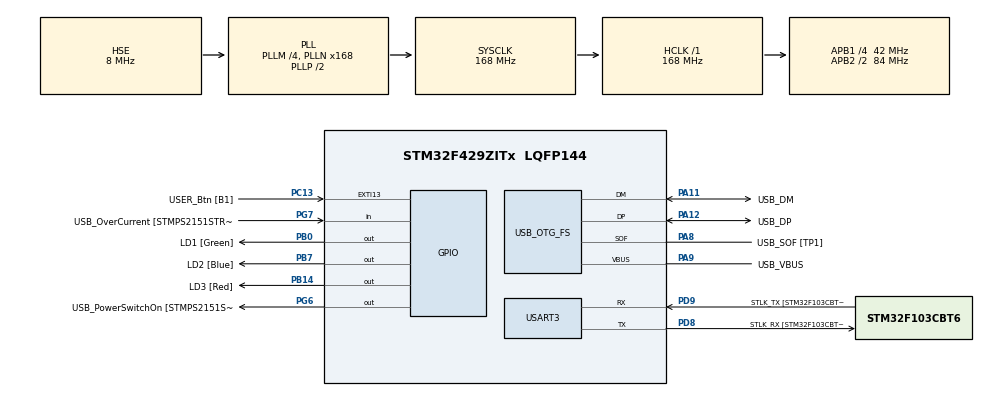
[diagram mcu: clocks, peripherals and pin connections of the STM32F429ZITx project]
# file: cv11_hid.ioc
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Mcu.Family=STM32F4
Mcu.Name=STM32F429ZITx
Mcu.Package=LQFP144
NVIC.OTG_FS_IRQn=true\:0\:0\:false\:false\:true\:false\:true\:true
NVIC.PriorityGroup=NVIC_PRIORITYGROUP_4
PA1.GPIO_Label=RMII_REF_CLK [LAN8742A-CZ-TR_REFCLK0]
PA1.Signal=ETH_REF_CLK
PA10.GPIO_Label=USB_ID
PA10.Signal=USB_OTG_FS_ID
PA11.GPIO_Label=USB_DM
PA11.Mode=Device_Only
PA11.Signal=USB_OTG_FS_DM
PA12.GPIO_Label=USB_DP
PA12.Mode=Device_Only
PA12.Signal=USB_OTG_FS_DP
PA13.GPIO_Label=TMS
PA13.Mode=Serial_Wire
PA13.Signal=SYS_JTMS-SWDIO
PA14.GPIO_Label=TCK
PA14.Mode=Serial_Wire
PA14.Signal=SYS_JTCK-SWCLK
PA2.GPIO_Label=RMII_MDIO [LAN8742A-CZ-TR_MDIO]
PA2.Signal=ETH_MDIO
PA7.GPIO_Label=RMII_CRS_DV [LAN8742A-CZ-TR_CRS_DV]
PA7.Signal=ETH_CRS_DV
PA8.GPIO_Label=USB_SOF [TP1]
PA8.Mode=Activate_SOF_FS
PA8.Signal=USB_OTG_FS_SOF
PA9.GPIO_Label=USB_VBUS
PA9.Mode=Activate_VBUS
PA9.Signal=USB_OTG_FS_VBUS
PB0.GPIO_Label=LD1 [Green]
PB0.Signal=GPIO_Output
PB13.GPIO_Label=RMII_TXD1 [LAN8742A-CZ-TR_TXD1]
PB13.Signal=ETH_TXD1
PB14.GPIO_Label=LD3 [Red]
PB14.Signal=GPIO_Output
PB7.GPIO_Label=LD2 [Blue]
PB7.Signal=GPIO_Output
PC1.GPIO_Label=RMII_MDC [LAN8742A-CZ-TR_MDC]
PC1.Signal=ETH_MDC
PC13.GPIO_Label=USER_Btn [B1]
PC13.Signal=GPXTI13
PC14/OSC32_IN.Mode=LSE-External-Oscillator
PC14/OSC32_IN.Signal=RCC_OSC32_IN
PC15/OSC32_OUT.Mode=LSE-External-Oscillator
PC15/OSC32_OUT.Signal=RCC_OSC32_OUT
PC4.GPIO_Label=RMII_RXD0 [LAN8742A-CZ-TR_RXD0]
PC4.Signal=ETH_RXD0
PC5.GPIO_Label=RMII_RXD1 [LAN8742A-CZ-TR_RXD1]
PC5.Signal=ETH_RXD1
PD8.GPIO_Label=STLK_RX [STM32F103CBT6_PA3]
PD8.Mode=Asynchronous
PD8.Signal=USART3_TX
PD9.GPIO_Label=STLK_TX [STM32F103CBT6_PA2]
PD9.Mode=Asynchronous
PD9.Signal=USART3_RX
PG11.GPIO_Label=RMII_TX_EN [LAN8742A-CZ-TR_TXEN]
PG11.Signal=ETH_TX_EN
PG13.GPIO_Label=RMII_TXD0 [LAN8742A-CZ-TR_TXD0]
PG13.Signal=ETH_TXD0
PG6.GPIO_Label=USB_PowerSwitchOn [STMPS2151STR_EN]
PG6.Signal=GPIO_Output
PG7.GPIO_Label=USB_OverCurrent [STMPS2151STR_FAULT]
PG7.Signal=GPIO_Input
PH0/OSC_IN.GPIO_Label=MCO [STM32F103CBT6_PA8]
PH0/OSC_IN.Mode=HSE-External-Clock-Source
PH0/OSC_IN.Signal=RCC_OSC_IN
PH1/OSC_OUT.Mode=HSE-External-Clock-Source
PH1/OSC_OUT.Signal=RCC_OSC_OUT
ProjectManager.HeapSize=0x200
ProjectManager.StackSize=0x400
ProjectManager.TargetToolchain=STM32CubeIDE
RCC.48MHZClocksFreq_Value=48000000
RCC.AHBFreq_Value=168000000
RCC.APB1CLKDivider=RCC_HCLK_DIV4
RCC.APB1Freq_Value=42000000
RCC.APB1TimFreq_Value=84000000
RCC.APB2CLKDivider=RCC_HCLK_DIV2
RCC.APB2Freq_Value=84000000
RCC.APB2TimCLKDivider=2
RCC.APB2TimFreq_Value=168000000
RCC.CortexFreq_Value=168000000
RCC.HCLKFreq_Value=168000000
RCC.HSE_VALUE=8000000
RCC.HSI_VALUE=16000000
RCC.PLLM=4
RCC.PLLMUL=RCC_PLL_MUL9
RCC.PLLN=168
RCC.PLLQ=7
RCC.PRESCALERUSB=RCC_USBCLKSOURCE_PLL_DIV1_5
RCC.SYSCLKFreq_VALUE=168000000
RCC.SYSCLKSource=RCC_SYSCLKSOURCE_PLLCLK
RCC.SYSCLKSourceVirtual=RCC_SYSCLKSOURCE_PLLCLK
RCC.USBFreq_Value=48000000
RCC.VCOOutputFreq_Value=336000000
USART3.VirtualMode=VM_ASYNC
USB_DEVICE.CLASS_NAME_FS=HID
USB_DEVICE.VirtualMode-HID_FS=Hid
USB_DEVICE.VirtualModeFS=Hid_FS
USB_OTG_FS.VirtualMode=Device_Only
VP_USB_DEVICE_VS_USB_DEVICE_HID_FS.Mode=HID_FS
board=NUCLEO-F429ZI

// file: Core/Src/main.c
/* USER CODE BEGIN Header */
/**
 ******************************************************************************
 * @file           : main.c
 * @brief          : Main program body
 ******************************************************************************
 * @attention
 *
 * Copyright (c) 2023 STMicroelectronics.
 * All rights reserved.
 *
 * This software is licensed under terms that can be found in the LICENSE file
 * in the root directory of this software component.
 * If no LICENSE file comes with this software, it is provided AS-IS.
 *
 ******************************************************************************
 */
/* USER CODE END Header */
#include "main.h"
#include "usb_device.h"

/* USER CODE BEGIN Includes */
#include "usbd_hid.h"
#include "math.h"
/* USER CODE END Includes */

UART_HandleTypeDef huart3;

/* USER CODE BEGIN PV */
extern USBD_HandleTypeDef hUsbDeviceFS;
/* USER CODE END PV */

void SystemClock_Config(void);
static void MX_GPIO_Init(void);
static void MX_USART3_UART_Init(void);

int main(void) {

	/* MCU Configuration--------------------------------------------------------*/

	/* Reset of all peripherals, Initializes the Flash interface and the Systick. */
	HAL_Init();

	/* Configure the system clock */
	SystemClock_Config();

	/* Initialize all configured peripherals */
	MX_GPIO_Init();
	MX_USART3_UART_Init();
	MX_USB_DEVICE_Init();

	/* Infinite loop */
	/* USER CODE BEGIN WHILE */

	void DrawLine(int8_t x, int8_t y) {
		uint8_t buff[4];  // sklada se ze ctyr bajtu v reportu
		buff[0] = 0x01;         // stiskni leve tlacitko
		buff[1] = (int8_t) (x);
		buff[2] = (int8_t) (y);
		buff[3] = 0;            // bez scrollu
		USBD_HID_SendReport(&hUsbDeviceFS, buff, sizeof(buff)); // odesleme report
		HAL_Delay(USBD_HID_GetPollingInterval(&hUsbDeviceFS));  // pockame
	}

	void DrawMouth(float size) {
		uint8_t buff[4];  // sklada se ze ctyr bajtu v reportu
		for (int i = 15; i <= 45; i++) {
			int step = 6 * i;
			float x = (size * cos(step * M_PI / 180));
			float y = (size * sin(step * M_PI / 180));
			buff[0] = 0x01;         // stiskni leve tlacitko
			buff[1] = (int8_t) (x); // posun X +10
			buff[2] = (int8_t) (y); // posun Y -3
			buff[3] = 0;            // bez scrollu
			USBD_HID_SendReport(&hUsbDeviceFS, buff, sizeof(buff)); // odesleme report
			HAL_Delay(USBD_HID_GetPollingInterval(&hUsbDeviceFS));  // pockame
		}
	}

	void ReleaseButton() {
		uint8_t buff[4];  // sklada se ze ctyr bajtu v reportu
		buff[0] = 0x00;         // stiskni leve tlacitko
		buff[1] = 0; // posun X +10
		buff[2] = 0; // posun Y -3
		buff[3] = 0; // bez scrollu
		USBD_HID_SendReport(&hUsbDeviceFS, buff, sizeof(buff)); // odesleme report
		HAL_Delay(USBD_HID_GetPollingInterval(&hUsbDeviceFS));  // pockame
	}

	void MoveMouse(int8_t x, int8_t y) {
		uint8_t buff[4];  // sklada se ze ctyr bajtu v reportu
		buff[0] = 0x00;         // stiskni leve tlacitko
		buff[1] = (int8_t) (x); // posun X
		buff[2] = (int8_t) (y); // posun Y
		buff[3] = 0;            // bez scrollu
		USBD_HID_SendReport(&hUsbDeviceFS, buff, sizeof(buff)); // odesleme report
		HAL_Delay(USBD_HID_GetPollingInterval(&hUsbDeviceFS));  // pockame
	}

	void DrawCircle(float size) {
		uint8_t buff[4];  // sklada se ze ctyr bajtu v reportu
		for (int i = 0; i <= 120; i++) {
			int step = 6 * i;
			float x = (size * cos(step * M_PI / 180));
			float y = (size * sin(step * M_PI / 180));
			buff[0] = 0x01;         // stiskni leve tlacitko
			buff[1] = (int8_t) (x); // posun X +10
			buff[2] = (int8_t) (y); // posun Y -3
			buff[3] = 0;            // bez scrollu
			USBD_HID_SendReport(&hUsbDeviceFS, buff, sizeof(buff)); // odesleme report
			HAL_Delay(USBD_HID_GetPollingInterval(&hUsbDeviceFS));  // pockame
		}
	}

	while (1) {
		/* USER CODE END WHILE */
		uint8_t ksicht = 40;
		uint8_t oko = 5;
		uint8_t nos = 25;
		uint8_t pusa = 17;
		/* USER CODE BEGIN 3 */
		do {
			HAL_Delay(40);
		} while (!HAL_GPIO_ReadPin(USER_Btn_GPIO_Port, USER_Btn_Pin)); //cekam tak dlouho dokud nebude stiknute tlacitko, budu cist user buttom Port a pin
		DrawCircle(30); //Ksicht
		ReleaseButton();
		MoveMouse(-ksicht,100);
		MoveMouse(-ksicht,0);
		MoveMouse(-ksicht,0);
		ReleaseButton();
		DrawCircle(5); //Oko
		ReleaseButton();
		MoveMouse(ksicht,0);
		MoveMouse(ksicht,0);
		MoveMouse(ksicht,0);
		HAL_Delay(500);
		DrawLine(0,nos); //Rypak
		DrawLine(0,nos); //Rypak
		DrawLine(0,nos); //Rypak
		DrawLine(0,nos); //Rypak
		DrawLine(0,nos); //Rypak
		DrawLine(0,nos); //Rypak
		DrawLine(0,nos); //Rypak
		DrawLine(0,nos); //Rypak
		DrawLine(0,nos); //Rypak
		ReleaseButton();
		HAL_Delay(500);
		MoveMouse(0,-nos);
		MoveMouse(0,-nos);
		MoveMouse(0,-nos);
		MoveMouse(0,-nos);
		MoveMouse(0,-nos);
		MoveMouse(0,-nos);
		MoveMouse(0,-nos);
		MoveMouse(0,-nos);
		MoveMouse(0,-nos);
		MoveMouse(ksicht,0);
		MoveMouse(ksicht,0);
		MoveMouse(ksicht,0);
		ReleaseButton();
		DrawCircle(oko); //Oko
		ReleaseButton();
		MoveMouse(0,25);
		MoveMouse(0,25);
		MoveMouse(0,25);
		MoveMouse(0,25);
		MoveMouse(0,25);
		MoveMouse(0,25);

		DrawMouth(pusa); //pusa
		ReleaseButton();

	}
	/* USER CODE END 3 */
}

void SystemClock_Config(void) {
	RCC_OscInitTypeDef RCC_OscInitStruct = { 0 };
	RCC_ClkInitTypeDef RCC_ClkInitStruct = { 0 };

	/** Configure the main internal regulator output voltage
	 */
	__HAL_RCC_PWR_CLK_ENABLE();
	__HAL_PWR_VOLTAGESCALING_CONFIG(PWR_REGULATOR_VOLTAGE_SCALE1);

	/** Initializes the RCC Oscillators according to the specified parameters
	 * in the RCC_OscInitTypeDef structure.
	 */
	RCC_OscInitStruct.OscillatorType = RCC_OSCILLATORTYPE_HSE;
	RCC_OscInitStruct.HSEState = RCC_HSE_BYPASS;
	RCC_OscInitStruct.PLL.PLLState = RCC_PLL_ON;
	RCC_OscInitStruct.PLL.PLLSource = RCC_PLLSOURCE_HSE;
	RCC_OscInitStruct.PLL.PLLM = 4;
	RCC_OscInitStruct.PLL.PLLN = 168;
	RCC_OscInitStruct.PLL.PLLP = RCC_PLLP_DIV2;
	RCC_OscInitStruct.PLL.PLLQ = 7;
	if (HAL_RCC_OscConfig(&RCC_OscInitStruct) != HAL_OK) {
		Error_Handler();
	}

	/** Initializes the CPU, AHB and APB buses clocks
	 */
	RCC_ClkInitStruct.ClockType = RCC_CLOCKTYPE_HCLK | RCC_CLOCKTYPE_SYSCLK
			| RCC_CLOCKTYPE_PCLK1 | RCC_CLOCKTYPE_PCLK2;
	RCC_ClkInitStruct.SYSCLKSource = RCC_SYSCLKSOURCE_PLLCLK;
	RCC_ClkInitStruct.AHBCLKDivider = RCC_SYSCLK_DIV1;
	RCC_ClkInitStruct.APB1CLKDivider = RCC_HCLK_DIV4;
	RCC_ClkInitStruct.APB2CLKDivider = RCC_HCLK_DIV2;

	if (HAL_RCC_ClockConfig(&RCC_ClkInitStruct, FLASH_LATENCY_5) != HAL_OK) {
		Error_Handler();
	}
}

static void MX_USART3_UART_Init(void) {

	huart3.Instance = USART3;
	huart3.Init.BaudRate = 115200;
	huart3.Init.WordLength = UART_WORDLENGTH_8B;
	huart3.Init.StopBits = UART_STOPBITS_1;
	huart3.Init.Parity = UART_PARITY_NONE;
	huart3.Init.Mode = UART_MODE_TX_RX;
	huart3.Init.HwFlowCtl = UART_HWCONTROL_NONE;
	huart3.Init.OverSampling = UART_OVERSAMPLING_16;
	if (HAL_UART_Init(&huart3) != HAL_OK) {
		Error_Handler();
	}

}

static void MX_GPIO_Init(void) {
	GPIO_InitTypeDef GPIO_InitStruct = { 0 };

	/* GPIO Ports Clock Enable */
	__HAL_RCC_GPIOC_CLK_ENABLE();
	__HAL_RCC_GPIOH_CLK_ENABLE();
	__HAL_RCC_GPIOA_CLK_ENABLE();
	__HAL_RCC_GPIOB_CLK_ENABLE();
	__HAL_RCC_GPIOD_CLK_ENABLE();
	__HAL_RCC_GPIOG_CLK_ENABLE();

	/*Configure GPIO pin Output Level */
	HAL_GPIO_WritePin(GPIOB, LD1_Pin | LD3_Pin | LD2_Pin, GPIO_PIN_RESET);

	/*Configure GPIO pin Output Level */
	HAL_GPIO_WritePin(USB_PowerSwitchOn_GPIO_Port, USB_PowerSwitchOn_Pin,
			GPIO_PIN_RESET);

	/*Configure GPIO pin : USER_Btn_Pin */
	GPIO_InitStruct.Pin = USER_Btn_Pin;
	GPIO_InitStruct.Mode = GPIO_MODE_IT_RISING;
	GPIO_InitStruct.Pull = GPIO_NOPULL;
	HAL_GPIO_Init(USER_Btn_GPIO_Port, &GPIO_InitStruct);

	/*Configure GPIO pins : RMII_MDC_Pin RMII_RXD0_Pin RMII_RXD1_Pin */
	GPIO_InitStruct.Pin = RMII_MDC_Pin | RMII_RXD0_Pin | RMII_RXD1_Pin;
	GPIO_InitStruct.Mode = GPIO_MODE_AF_PP;
	GPIO_InitStruct.Pull = GPIO_NOPULL;
	GPIO_InitStruct.Speed = GPIO_SPEED_FREQ_VERY_HIGH;
	GPIO_InitStruct.Alternate = GPIO_AF11_ETH;
	HAL_GPIO_Init(GPIOC, &GPIO_InitStruct);

	/*Configure GPIO pins : RMII_REF_CLK_Pin RMII_MDIO_Pin RMII_CRS_DV_Pin */
	GPIO_InitStruct.Pin = RMII_REF_CLK_Pin | RMII_MDIO_Pin | RMII_CRS_DV_Pin;
	GPIO_InitStruct.Mode = GPIO_MODE_AF_PP;
	GPIO_InitStruct.Pull = GPIO_NOPULL;
	GPIO_InitStruct.Speed = GPIO_SPEED_FREQ_VERY_HIGH;
	GPIO_InitStruct.Alternate = GPIO_AF11_ETH;
	HAL_GPIO_Init(GPIOA, &GPIO_InitStruct);

	/*Configure GPIO pins : LD1_Pin LD3_Pin LD2_Pin */
	GPIO_InitStruct.Pin = LD1_Pin | LD3_Pin | LD2_Pin;
	GPIO_InitStruct.Mode = GPIO_MODE_OUTPUT_PP;
	GPIO_InitStruct.Pull = GPIO_NOPULL;
	GPIO_InitStruct.Speed = GPIO_SPEED_FREQ_LOW;
	HAL_GPIO_Init(GPIOB, &GPIO_InitStruct);

	/*Configure GPIO pin : RMII_TXD1_Pin */
	GPIO_InitStruct.Pin = RMII_TXD1_Pin;
	GPIO_InitStruct.Mode = GPIO_MODE_AF_PP;
	GPIO_InitStruct.Pull = GPIO_NOPULL;
	GPIO_InitStruct.Speed = GPIO_SPEED_FREQ_VERY_HIGH;
	GPIO_InitStruct.Alternate = GPIO_AF11_ETH;
	HAL_GPIO_Init(RMII_TXD1_GPIO_Port, &GPIO_InitStruct);

	/*Configure GPIO pin : USB_PowerSwitchOn_Pin */
	GPIO_InitStruct.Pin = USB_PowerSwitchOn_Pin;
	GPIO_InitStruct.Mode = GPIO_MODE_OUTPUT_PP;
	GPIO_InitStruct.Pull = GPIO_NOPULL;
	GPIO_InitStruct.Speed = GPIO_SPEED_FREQ_LOW;
	HAL_GPIO_Init(USB_PowerSwitchOn_GPIO_Port, &GPIO_InitStruct);

	/*Configure GPIO pin : USB_OverCurrent_Pin */
	GPIO_InitStruct.Pin = USB_OverCurrent_Pin;
	GPIO_InitStruct.Mode = GPIO_MODE_INPUT;
	GPIO_InitStruct.Pull = GPIO_NOPULL;
	HAL_GPIO_Init(USB_OverCurrent_GPIO_Port, &GPIO_InitStruct);

	/*Configure GPIO pins : RMII_TX_EN_Pin RMII_TXD0_Pin */
	GPIO_InitStruct.Pin = RMII_TX_EN_Pin | RMII_TXD0_Pin;
	GPIO_InitStruct.Mode = GPIO_MODE_AF_PP;
	GPIO_InitStruct.Pull = GPIO_NOPULL;
	GPIO_InitStruct.Speed = GPIO_SPEED_FREQ_VERY_HIGH;
	GPIO_InitStruct.Alternate = GPIO_AF11_ETH;
	HAL_GPIO_Init(GPIOG, &GPIO_InitStruct);

}

void Error_Handler(void) {
	__disable_irq();
	while (1) {
	}
}
